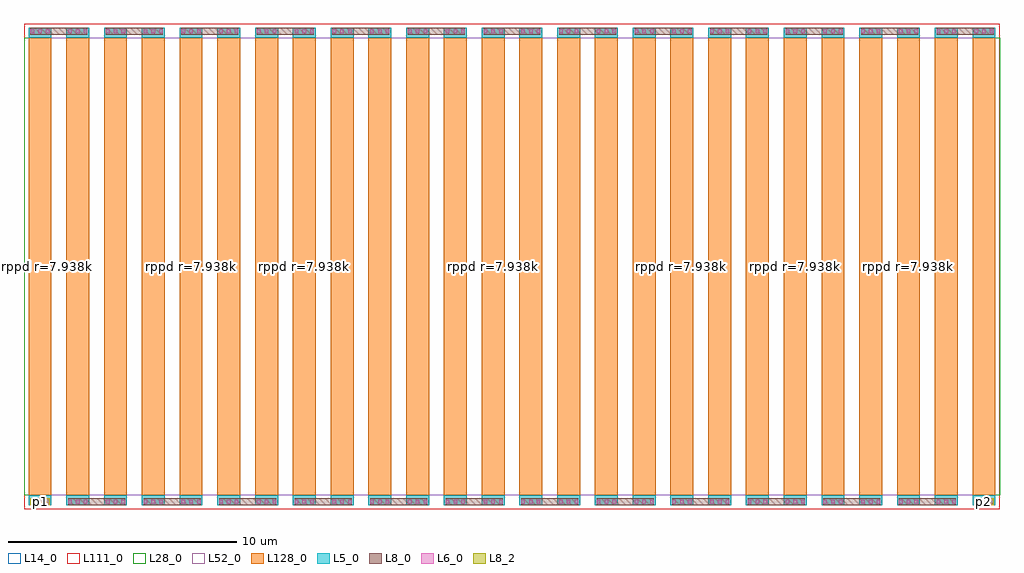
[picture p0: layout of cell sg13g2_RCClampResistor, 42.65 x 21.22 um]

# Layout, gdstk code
import gdstk
lib = gdstk.Library(unit=1e-6, precision=5e-09)
def R(c, l, rs):  # rectangles x0, y0, x1, y1
    for r in rs: c.add(gdstk.rectangle(r[:2], r[2:], *l))
def A(c, l, x, y, w, h, nx, ny, dx, dy):  # array of equal rectangles
    R(c, l, [(x+i*dx, y+j*dy, x+i*dx+w, y+j*dy+h) for i in range(nx) for j in range(ny)])
L5_0 = (5, 0)
L6_0 = (6, 0)
L8_0 = (8, 0)
L8_2 = (8, 2)
L14_0 = (14, 0)
L28_0 = (28, 0)
L52_0 = (52, 0)
L111_0 = (111, 0)
L128_0 = (128, 0)

sg13g2_rcclampresistor = lib.new_cell('sg13g2_RCClampResistor')
A(sg13g2_rcclampresistor, L5_0, 0, 0, 1, 0.43, 26, 2, 1.65, 20.43)
A(sg13g2_rcclampresistor, L6_0, 0.08, 0.07, 0.16, 0.16, 3, 2, 0.34, 20.56)
A(sg13g2_rcclampresistor, L6_0, 1.73, 0.07, 0.16, 0.16, 3, 2, 0.34, 20.56)
A(sg13g2_rcclampresistor, L6_0, 3.38, 0.07, 0.16, 0.16, 3, 2, 0.34, 20.56)
A(sg13g2_rcclampresistor, L6_0, 5.03, 0.07, 0.16, 0.16, 3, 2, 0.34, 20.56)
A(sg13g2_rcclampresistor, L6_0, 6.68, 0.07, 0.16, 0.16, 3, 2, 0.34, 20.56)
A(sg13g2_rcclampresistor, L6_0, 8.33, 0.07, 0.16, 0.16, 3, 2, 0.34, 20.56)
A(sg13g2_rcclampresistor, L6_0, 9.98, 0.07, 0.16, 0.16, 3, 2, 0.34, 20.56)
A(sg13g2_rcclampresistor, L6_0, 11.63, 0.07, 0.16, 0.16, 3, 2, 0.34, 20.56)
A(sg13g2_rcclampresistor, L6_0, 13.28, 0.07, 0.16, 0.16, 3, 2, 0.34, 20.56)
A(sg13g2_rcclampresistor, L6_0, 14.93, 0.07, 0.16, 0.16, 3, 2, 0.34, 20.56)
A(sg13g2_rcclampresistor, L6_0, 16.58, 0.07, 0.16, 0.16, 3, 2, 0.34, 20.56)
A(sg13g2_rcclampresistor, L6_0, 18.23, 0.07, 0.16, 0.16, 3, 2, 0.34, 20.56)
A(sg13g2_rcclampresistor, L6_0, 19.88, 0.07, 0.16, 0.16, 3, 2, 0.34, 20.56)
A(sg13g2_rcclampresistor, L6_0, 21.53, 0.07, 0.16, 0.16, 3, 2, 0.34, 20.56)
A(sg13g2_rcclampresistor, L6_0, 23.18, 0.07, 0.16, 0.16, 3, 2, 0.34, 20.56)
A(sg13g2_rcclampresistor, L6_0, 24.83, 0.07, 0.16, 0.16, 3, 2, 0.34, 20.56)
A(sg13g2_rcclampresistor, L6_0, 26.48, 0.07, 0.16, 0.16, 3, 2, 0.34, 20.56)
A(sg13g2_rcclampresistor, L6_0, 28.13, 0.07, 0.16, 0.16, 3, 2, 0.34, 20.56)
A(sg13g2_rcclampresistor, L6_0, 29.78, 0.07, 0.16, 0.16, 3, 2, 0.34, 20.56)
A(sg13g2_rcclampresistor, L6_0, 31.43, 0.07, 0.16, 0.16, 3, 2, 0.34, 20.56)
A(sg13g2_rcclampresistor, L6_0, 33.08, 0.07, 0.16, 0.16, 3, 2, 0.34, 20.56)
A(sg13g2_rcclampresistor, L6_0, 34.73, 0.07, 0.16, 0.16, 3, 2, 0.34, 20.56)
A(sg13g2_rcclampresistor, L6_0, 36.38, 0.07, 0.16, 0.16, 3, 2, 0.34, 20.56)
A(sg13g2_rcclampresistor, L6_0, 38.03, 0.07, 0.16, 0.16, 3, 2, 0.34, 20.56)
A(sg13g2_rcclampresistor, L6_0, 39.68, 0.07, 0.16, 0.16, 3, 2, 0.34, 20.56)
A(sg13g2_rcclampresistor, L6_0, 41.33, 0.07, 0.16, 0.16, 3, 2, 0.34, 20.56)
A(sg13g2_rcclampresistor, L8_0, 1.73, -0.01, 2.49, 0.32, 12, 1, 3.3, 0)
A(sg13g2_rcclampresistor, L8_0, 0.08, 20.55, 2.49, 0.32, 13, 1, 3.3, 0)
R(sg13g2_rcclampresistor, L8_0, [(0.08,-0.01,0.92,0.31), (41.33,-0.01,42.17,0.31)])
R(sg13g2_rcclampresistor, L8_2, [(0.08,-0.01,0.92,0.31), (41.33,-0.01,42.17,0.31)])
R(sg13g2_rcclampresistor, L14_0, [(-0.18,-0.18,42.43,21.04)])
R(sg13g2_rcclampresistor, L28_0, [(-0.2,0.43,42.45,20.43)])
R(sg13g2_rcclampresistor, L52_0, [(0,0.43,42.25,20.43)])
R(sg13g2_rcclampresistor, L111_0, [(-0.18,-0.18,42.43,21.04)])
A(sg13g2_rcclampresistor, L128_0, 0, 0.43, 1, 20, 26, 1, 1.65, 0)
sg13g2_rcclampresistor.add(gdstk.Label('rppd r=7.938k', (33.5,10.43), layer=63, texttype=0))
sg13g2_rcclampresistor.add(gdstk.Label('rppd r=7.938k', (7.1,10.43), layer=63, texttype=0))
sg13g2_rcclampresistor.add(gdstk.Label('rppd r=7.938k', (36.8,10.43), layer=63, texttype=0))
sg13g2_rcclampresistor.add(gdstk.Label('rppd r=7.938k', (10.4,10.43), layer=63, texttype=0))
sg13g2_rcclampresistor.add(gdstk.Label('rppd r=7.938k', (30.2,10.43), layer=63, texttype=0))
sg13g2_rcclampresistor.add(gdstk.Label('rppd r=7.938k', (0.5,10.43), layer=63, texttype=0))
sg13g2_rcclampresistor.add(gdstk.Label('rppd r=7.938k', (28.55,10.43), layer=63, texttype=0))
sg13g2_rcclampresistor.add(gdstk.Label('rppd r=7.938k', (3.8,10.43), layer=63, texttype=0))
sg13g2_rcclampresistor.add(gdstk.Label('rppd r=7.938k', (20.3,10.43), layer=63, texttype=0))
sg13g2_rcclampresistor.add(gdstk.Label('rppd r=7.938k', (21.95,10.43), layer=63, texttype=0))
sg13g2_rcclampresistor.add(gdstk.Label('rppd r=7.938k', (23.6,10.43), layer=63, texttype=0))
sg13g2_rcclampresistor.add(gdstk.Label('rppd r=7.938k', (31.85,10.43), layer=63, texttype=0))
sg13g2_rcclampresistor.add(gdstk.Label('rppd r=7.938k', (12.05,10.43), layer=63, texttype=0))
sg13g2_rcclampresistor.add(gdstk.Label('rppd r=7.938k', (8.75,10.43), layer=63, texttype=0))
sg13g2_rcclampresistor.add(gdstk.Label('rppd r=7.938k', (35.15,10.43), layer=63, texttype=0))
sg13g2_rcclampresistor.add(gdstk.Label('rppd r=7.938k', (38.45,10.43), layer=63, texttype=0))
sg13g2_rcclampresistor.add(gdstk.Label('rppd r=7.938k', (41.75,10.43), layer=63, texttype=0))
sg13g2_rcclampresistor.add(gdstk.Label('rppd r=7.938k', (2.15,10.43), layer=63, texttype=0))
sg13g2_rcclampresistor.add(gdstk.Label('rppd r=7.938k', (17,10.43), layer=63, texttype=0))
sg13g2_rcclampresistor.add(gdstk.Label('rppd r=7.938k', (15.35,10.43), layer=63, texttype=0))
sg13g2_rcclampresistor.add(gdstk.Label('rppd r=7.938k', (40.1,10.43), layer=63, texttype=0))
sg13g2_rcclampresistor.add(gdstk.Label('rppd r=7.938k', (25.25,10.43), layer=63, texttype=0))
sg13g2_rcclampresistor.add(gdstk.Label('rppd r=7.938k', (13.7,10.43), layer=63, texttype=0))
sg13g2_rcclampresistor.add(gdstk.Label('rppd r=7.938k', (18.65,10.43), layer=63, texttype=0))
sg13g2_rcclampresistor.add(gdstk.Label('rppd r=7.938k', (26.9,10.43), layer=63, texttype=0))
sg13g2_rcclampresistor.add(gdstk.Label('rppd r=7.938k', (5.45,10.43), layer=63, texttype=0))
sg13g2_rcclampresistor.add(gdstk.Label('p2', (41.75,0.15), layer=8, texttype=25))
sg13g2_rcclampresistor.add(gdstk.Label('p1', (0.5,0.15), layer=8, texttype=25))

lib.write_gds('sg13g2_RCClampResistor.gds')
